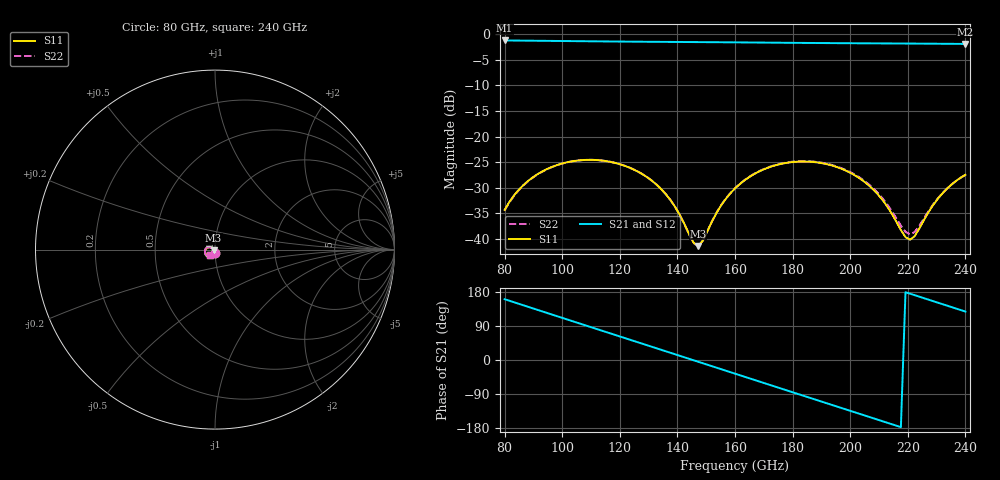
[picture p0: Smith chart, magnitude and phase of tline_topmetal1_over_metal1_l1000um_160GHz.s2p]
#  GHZ S DB R 50
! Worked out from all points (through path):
!   101 points, 80 GHz to 240 GHz, reference 50 ohm
!   highest |S21| = -1.25 dB at 80 GHz (marker M1); lowest = -1.9 dB at 240 GHz (marker M2)
!   group delay of S21, straight-line fit = 6.81 ps
!   lowest |S11| = -41.3 dB at 147.2 GHz (marker M3), VSWR 1.02, Z = 49.2 - j0.317 ohm
!   |S11| at or under -10 dB: start of sweep to end of sweep
!   |S22| runs from -41.4 to -24.6 dB; largest |S21 - S12| = 9.3e-14
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80  -34.32 -90.8  -1.25 160.5  -1.25 160.5  -34.42 -93.9
84.8  -30.46 -97.0  -1.28 148.6  -1.28 148.6  -30.54 -98.7
91.2  -27.43 -110.1  -1.31 132.9  -1.31 132.9  -27.47 -111.1
99.2  -25.39 -128.5  -1.35 113.2  -1.35 113.2  -25.41 -129.1
107.2  -24.59 -147.4  -1.40 93.5  -1.40 93.5  -24.59 -147.8
120  -25.40 -176.8  -1.46 62.1  -1.46 62.1  -25.39 -176.9
134.4  -30.27 155.7  -1.52 26.8  -1.52 26.8  -30.27 155.7
139.2  -33.72 152.5  -1.54 15.1  -1.54 15.1  -33.74 152.5
145.6  -40.71 -179.1  -1.56 -0.6  -1.56 -0.6  -40.79 -178.6
147.2  -41.33 -157.9  -1.57 -4.6  -1.57 -4.6  -41.40 -157.1
155.2  -33.42 -113.9  -1.60 -24.2  -1.60 -24.2  -33.37 -113.2
160  -30.13 -117.5  -1.62 -36.0  -1.62 -36.0  -30.08 -116.9
174.4  -25.56 -144.1  -1.69 -71.4  -1.69 -71.4  -25.49 -143.4
187.2  -24.97 -171.3  -1.74 -102.7  -1.74 -102.7  -24.89 -170.3
195.2  -25.92 172.2  -1.78 -122.3  -1.78 -122.3  -25.82 173.4
203.2  -28.13 157.5  -1.80 -141.9  -1.80 -141.9  -27.97 159.1
209.6  -31.29 149.5  -1.82 -157.6  -1.82 -157.6  -31.02 151.7
214.4  -35.02 151.0  -1.84 -169.4  -1.84 -169.4  -34.52 153.7
219.2  -39.64 176.9  -1.85 178.9  -1.85 178.9  -38.60 177.3
220.8  -40.14 -165.3  -1.86 174.9  -1.86 174.9  -39.10 -167.3
232  -31.10 -123.4  -1.90 147.5  -1.90 147.5  -31.06 -125.9
240  -27.47 -134.1  -1.93 127.8  -1.93 127.8  -27.48 -135.7
